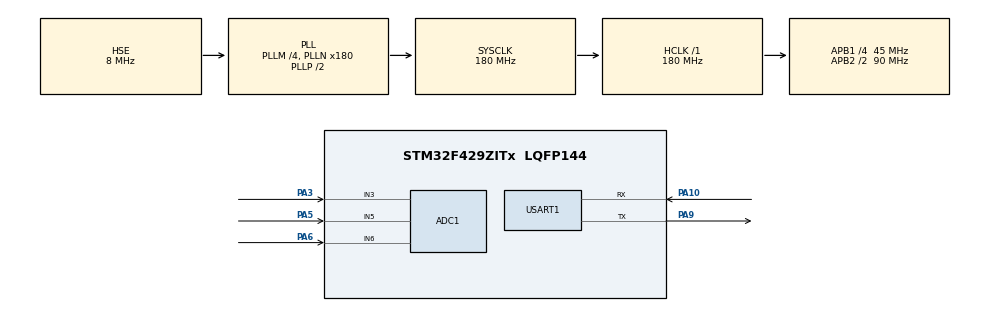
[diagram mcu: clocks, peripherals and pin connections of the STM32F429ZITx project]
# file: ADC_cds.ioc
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ADC1.Channel-0\#ChannelRegularConversion=ADC_CHANNEL_3
ADC1.Channel-1\#ChannelRegularConversion=ADC_CHANNEL_5
ADC1.Channel-2\#ChannelRegularConversion=ADC_CHANNEL_6
ADC1.Channel-3\#ChannelRegularConversion=ADC_CHANNEL_TEMPSENSOR
ADC1.ContinuousConvMode=DISABLE
ADC1.DiscontinuousConvMode=ENABLE
ADC1.NbrOfConversion=4
ADC1.NbrOfConversionFlag=1
ADC1.Rank-0\#ChannelRegularConversion=1
ADC1.Rank-1\#ChannelRegularConversion=2
ADC1.Rank-2\#ChannelRegularConversion=3
ADC1.Rank-3\#ChannelRegularConversion=4
ADC1.SamplingTime-0\#ChannelRegularConversion=ADC_SAMPLETIME_84CYCLES
ADC1.SamplingTime-1\#ChannelRegularConversion=ADC_SAMPLETIME_84CYCLES
ADC1.SamplingTime-2\#ChannelRegularConversion=ADC_SAMPLETIME_84CYCLES
ADC1.SamplingTime-3\#ChannelRegularConversion=ADC_SAMPLETIME_84CYCLES
ADC1.ScanConvMode=ENABLE
ADC1.master=1
Mcu.Family=STM32F4
Mcu.Name=STM32F429ZITx
Mcu.Package=LQFP144
NVIC.ADC_IRQn=true\:0\:0\:false\:true\:true\:2\:true\:true\:true
NVIC.PriorityGroup=NVIC_PRIORITYGROUP_4
NVIC.USART1_IRQn=true\:0\:0\:false\:true\:true\:1\:true\:true\:true
PA10.Mode=Asynchronous
PA10.Signal=USART1_RX
PA3.Signal=ADCx_IN3
PA5.Signal=ADCx_IN5
PA6.Signal=ADCx_IN6
PA9.Mode=Asynchronous
PA9.Signal=USART1_TX
PH0/OSC_IN.Mode=HSE-External-Oscillator
PH0/OSC_IN.Signal=RCC_OSC_IN
PH1/OSC_OUT.Mode=HSE-External-Oscillator
PH1/OSC_OUT.Signal=RCC_OSC_OUT
ProjectManager.HeapSize=0x200
ProjectManager.StackSize=0x400
ProjectManager.TargetToolchain=STM32CubeIDE
RCC.48MHZClocksFreq_Value=90000000
RCC.AHBFreq_Value=180000000
RCC.APB1CLKDivider=RCC_HCLK_DIV4
RCC.APB1Freq_Value=45000000
RCC.APB1TimFreq_Value=90000000
RCC.APB2CLKDivider=RCC_HCLK_DIV2
RCC.APB2Freq_Value=90000000
RCC.APB2TimFreq_Value=180000000
RCC.CortexFreq_Value=180000000
RCC.HCLKFreq_Value=180000000
RCC.HSE_VALUE=8000000
RCC.HSI_VALUE=16000000
RCC.LSE_VALUE=32768
RCC.PLLM=4
RCC.PLLN=180
RCC.PLLSourceVirtual=RCC_PLLSOURCE_HSE
RCC.SYSCLKFreq_VALUE=180000000
RCC.SYSCLKSource=RCC_SYSCLKSOURCE_PLLCLK
RCC.VCOOutputFreq_Value=360000000
SH.ADCx_IN3.0=ADC1_IN3,IN3
SH.ADCx_IN5.0=ADC1_IN5,IN5
SH.ADCx_IN6.0=ADC1_IN6,IN6
USART1.VirtualMode=VM_ASYNC
VP_ADC1_TempSens_Input.Mode=IN-TempSens
board=custom

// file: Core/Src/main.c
/* USER CODE BEGIN Header */
/**
  ******************************************************************************
  * @file           : main.c
  * @brief          : Main program body
  ******************************************************************************
  * @attention
  *
  * Copyright (c) 2022 STMicroelectronics.
  * All rights reserved.
  *
  * This software is licensed under terms that can be found in the LICENSE file
  * in the root directory of this software component.
  * If no LICENSE file comes with this software, it is provided AS-IS.
  *
  ******************************************************************************
  */
/* USER CODE END Header */
#include "main.h"

ADC_HandleTypeDef hadc1;

UART_HandleTypeDef huart1;

/* USER CODE BEGIN PV */

int adcVal[4];
int i=0;

int __io_putchar (int ch)
{
  (void)HAL_UART_Transmit(&huart1, (uint8_t*)&ch, 1, 100);
  return ch;
}

/* USER CODE END PV */

void SystemClock_Config(void);
static void MX_GPIO_Init(void);
static void MX_ADC1_Init(void);
static void MX_USART1_UART_Init(void);
static void MX_NVIC_Init(void);

int main(void)
{

  /* MCU Configuration--------------------------------------------------------*/

  /* Reset of all peripherals, Initializes the Flash interface and the Systick. */
  HAL_Init();

  /* Configure the system clock */
  SystemClock_Config();

  /* Initialize all configured peripherals */
  MX_GPIO_Init();
  MX_ADC1_Init();
  MX_USART1_UART_Init();

  /* Initialize interrupts */
  MX_NVIC_Init();
  /* USER CODE BEGIN 2 */
  //HAL_ADC_Start_IT(&hadc1);
  /* USER CODE END 2 */

  /* Infinite loop */
  /* USER CODE BEGIN WHILE */

  while (1)
  {
	  HAL_ADC_Start(&hadc1);
	  HAL_ADC_PollForConversion(&hadc1,HAL_MAX_DELAY);
	  adcVal[i] = HAL_ADC_GetValue(&hadc1);
	  printf("%d ",adcVal[i]);

	  if(i==3)
	  	{
	  		printf("\r\n");
	  		HAL_ADC_Stop(&hadc1);
	  	}

	  	i++;

	  	if(i>3)
	  		i=0;

    /* USER CODE END WHILE */

  }
}

void SystemClock_Config(void)
{
  RCC_OscInitTypeDef RCC_OscInitStruct = {0};
  RCC_ClkInitTypeDef RCC_ClkInitStruct = {0};

  /** Configure the main internal regulator output voltage
  */
  __HAL_RCC_PWR_CLK_ENABLE();
  __HAL_PWR_VOLTAGESCALING_CONFIG(PWR_REGULATOR_VOLTAGE_SCALE1);

  /** Initializes the RCC Oscillators according to the specified parameters
  * in the RCC_OscInitTypeDef structure.
  */
  RCC_OscInitStruct.OscillatorType = RCC_OSCILLATORTYPE_HSE;
  RCC_OscInitStruct.HSEState = RCC_HSE_ON;
  RCC_OscInitStruct.PLL.PLLState = RCC_PLL_ON;
  RCC_OscInitStruct.PLL.PLLSource = RCC_PLLSOURCE_HSE;
  RCC_OscInitStruct.PLL.PLLM = 4;
  RCC_OscInitStruct.PLL.PLLN = 180;
  RCC_OscInitStruct.PLL.PLLP = RCC_PLLP_DIV2;
  RCC_OscInitStruct.PLL.PLLQ = 4;
  if (HAL_RCC_OscConfig(&RCC_OscInitStruct) != HAL_OK)
  {
    Error_Handler();
  }

  /** Activate the Over-Drive mode
  */
  if (HAL_PWREx_EnableOverDrive() != HAL_OK)
  {
    Error_Handler();
  }

  /** Initializes the CPU, AHB and APB buses clocks
  */
  RCC_ClkInitStruct.ClockType = RCC_CLOCKTYPE_HCLK|RCC_CLOCKTYPE_SYSCLK
                              |RCC_CLOCKTYPE_PCLK1|RCC_CLOCKTYPE_PCLK2;
  RCC_ClkInitStruct.SYSCLKSource = RCC_SYSCLKSOURCE_PLLCLK;
  RCC_ClkInitStruct.AHBCLKDivider = RCC_SYSCLK_DIV1;
  RCC_ClkInitStruct.APB1CLKDivider = RCC_HCLK_DIV4;
  RCC_ClkInitStruct.APB2CLKDivider = RCC_HCLK_DIV2;

  if (HAL_RCC_ClockConfig(&RCC_ClkInitStruct, FLASH_LATENCY_5) != HAL_OK)
  {
    Error_Handler();
  }
}

/**
  * @brief NVIC Configuration.
  * @retval None
  */
static void MX_NVIC_Init(void)
{
  /* USART1_IRQn interrupt configuration */
  HAL_NVIC_SetPriority(USART1_IRQn, 0, 0);
  HAL_NVIC_EnableIRQ(USART1_IRQn);
  /* ADC_IRQn interrupt configuration */
  HAL_NVIC_SetPriority(ADC_IRQn, 0, 0);
  HAL_NVIC_EnableIRQ(ADC_IRQn);
}

static void MX_ADC1_Init(void)
{

  ADC_ChannelConfTypeDef sConfig = {0};

  /** Configure the global features of the ADC (Clock, Resolution, Data Alignment and number of conversion)
  */
  hadc1.Instance = ADC1;
  hadc1.Init.ClockPrescaler = ADC_CLOCK_SYNC_PCLK_DIV4;
  hadc1.Init.Resolution = ADC_RESOLUTION_12B;
  hadc1.Init.ScanConvMode = ENABLE;
  hadc1.Init.ContinuousConvMode = DISABLE;
  hadc1.Init.DiscontinuousConvMode = ENABLE;
  hadc1.Init.NbrOfDiscConversion = 1;
  hadc1.Init.ExternalTrigConvEdge = ADC_EXTERNALTRIGCONVEDGE_NONE;
  hadc1.Init.ExternalTrigConv = ADC_SOFTWARE_START;
  hadc1.Init.DataAlign = ADC_DATAALIGN_RIGHT;
  hadc1.Init.NbrOfConversion = 4;
  hadc1.Init.DMAContinuousRequests = DISABLE;
  hadc1.Init.EOCSelection = ADC_EOC_SINGLE_CONV;
  if (HAL_ADC_Init(&hadc1) != HAL_OK)
  {
    Error_Handler();
  }

  /** Configure for the selected ADC regular channel its corresponding rank in the sequencer and its sample time.
  */
  sConfig.Channel = ADC_CHANNEL_3;
  sConfig.Rank = 1;
  sConfig.SamplingTime = ADC_SAMPLETIME_84CYCLES;
  if (HAL_ADC_ConfigChannel(&hadc1, &sConfig) != HAL_OK)
  {
    Error_Handler();
  }

  /** Configure for the selected ADC regular channel its corresponding rank in the sequencer and its sample time.
  */
  sConfig.Channel = ADC_CHANNEL_5;
  sConfig.Rank = 2;
  if (HAL_ADC_ConfigChannel(&hadc1, &sConfig) != HAL_OK)
  {
    Error_Handler();
  }

  /** Configure for the selected ADC regular channel its corresponding rank in the sequencer and its sample time.
  */
  sConfig.Channel = ADC_CHANNEL_6;
  sConfig.Rank = 3;
  if (HAL_ADC_ConfigChannel(&hadc1, &sConfig) != HAL_OK)
  {
    Error_Handler();
  }

  /** Configure for the selected ADC regular channel its corresponding rank in the sequencer and its sample time.
  */
  sConfig.Channel = ADC_CHANNEL_TEMPSENSOR;
  sConfig.Rank = 4;
  if (HAL_ADC_ConfigChannel(&hadc1, &sConfig) != HAL_OK)
  {
    Error_Handler();
  }

}

static void MX_USART1_UART_Init(void)
{

  huart1.Instance = USART1;
  huart1.Init.BaudRate = 115200;
  huart1.Init.WordLength = UART_WORDLENGTH_8B;
  huart1.Init.StopBits = UART_STOPBITS_1;
  huart1.Init.Parity = UART_PARITY_NONE;
  huart1.Init.Mode = UART_MODE_TX_RX;
  huart1.Init.HwFlowCtl = UART_HWCONTROL_NONE;
  huart1.Init.OverSampling = UART_OVERSAMPLING_16;
  if (HAL_UART_Init(&huart1) != HAL_OK)
  {
    Error_Handler();
  }

}

static void MX_GPIO_Init(void)
{

  /* GPIO Ports Clock Enable */
  __HAL_RCC_GPIOH_CLK_ENABLE();
  __HAL_RCC_GPIOA_CLK_ENABLE();

}

/* USER CODE BEGIN 4 */
/*
void HAL_ADC_ConvCpltCallback(ADC_HandleTypeDef* hadc)
{
	adcVal[i] = HAL_ADC_GetValue(&hadc1);
	printf("%d ",adcVal[i]);

	if(i==3)
	{
		printf("\r\n");
		//HAL_ADC_Stop(&hadc1);
	}

	i++;

	if(i>3)
		i=0;

  HAL_ADC_Start_IT(&hadc1);
}
*/
/* USER CODE END 4 */

void Error_Handler(void)
{
  __disable_irq();
  while (1)
  {
  }
}
